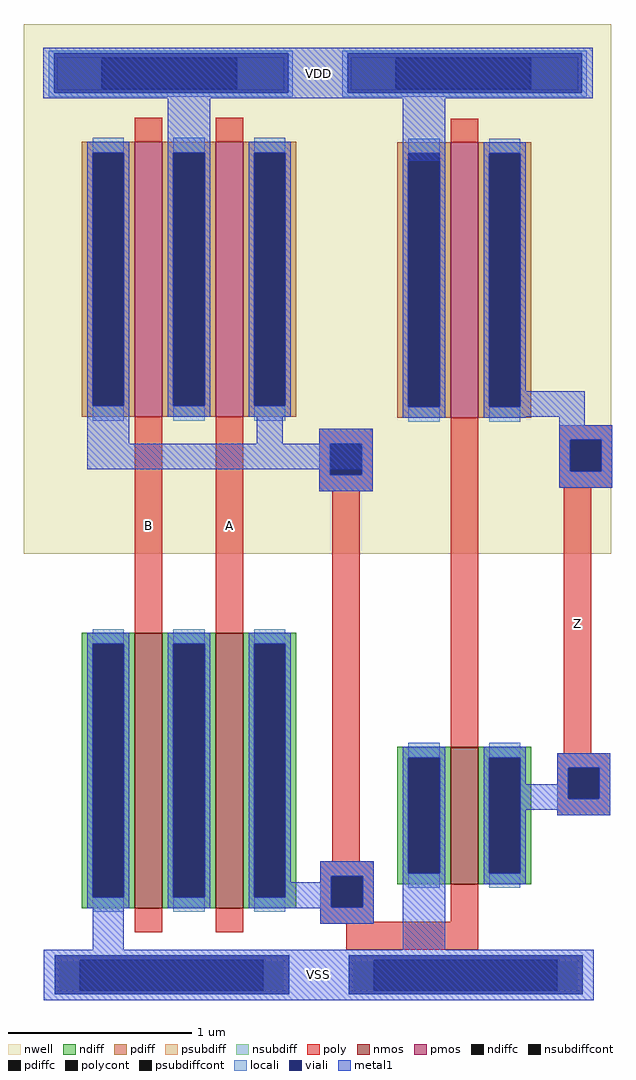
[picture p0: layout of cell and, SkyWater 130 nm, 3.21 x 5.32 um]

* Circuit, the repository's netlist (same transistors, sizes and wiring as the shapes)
** sch_path: /foss/designs/and.sch
**.subckt and vdd A Z B GND
*.iopin vdd
*.iopin Z
*.iopin GND
*.iopin B
*.iopin A
XM2 net1 A net2 GND sky130_fd_pr__nfet_01v8 L=0.15 W=1.5 nf=1 ad='int((nf+1)/2) * W/nf * 0.29' as='int((nf+2)/2) * W/nf * 0.29' pd='2*int((nf+1)/2) * (W/nf + 0.29)'
+ ps='2*int((nf+2)/2) * (W/nf + 0.29)' nrd='0.29 / W' nrs='0.29 / W' sa=0 sb=0 sd=0 mult=1 m=1
XM0 net1 A vdd vdd sky130_fd_pr__pfet_01v8 L=0.15 W=1.5 nf=1 ad='int((nf+1)/2) * W/nf * 0.29' as='int((nf+2)/2) * W/nf * 0.29' pd='2*int((nf+1)/2) * (W/nf + 0.29)'
+ ps='2*int((nf+2)/2) * (W/nf + 0.29)' nrd='0.29 / W' nrs='0.29 / W' sa=0 sb=0 sd=0 mult=1 m=1
XM3 net2 B GND GND sky130_fd_pr__nfet_01v8 L=0.15 W=1.5 nf=1 ad='int((nf+1)/2) * W/nf * 0.29' as='int((nf+2)/2) * W/nf * 0.29' pd='2*int((nf+1)/2) * (W/nf + 0.29)'
+ ps='2*int((nf+2)/2) * (W/nf + 0.29)' nrd='0.29 / W' nrs='0.29 / W' sa=0 sb=0 sd=0 mult=1 m=1
XM5 Z net1 GND GND sky130_fd_pr__nfet_01v8 L=0.15 W=0.75 nf=1 ad='int((nf+1)/2) * W/nf * 0.29' as='int((nf+2)/2) * W/nf * 0.29' pd='2*int((nf+1)/2) * (W/nf + 0.29)'
+ ps='2*int((nf+2)/2) * (W/nf + 0.29)' nrd='0.29 / W' nrs='0.29 / W' sa=0 sb=0 sd=0 mult=1 m=1
XM1 net1 B vdd vdd sky130_fd_pr__pfet_01v8 L=0.15 W=1.5 nf=1 ad='int((nf+1)/2) * W/nf * 0.29' as='int((nf+2)/2) * W/nf * 0.29' pd='2*int((nf+1)/2) * (W/nf + 0.29)'
+ ps='2*int((nf+2)/2) * (W/nf + 0.29)' nrd='0.29 / W' nrs='0.29 / W' sa=0 sb=0 sd=0 mult=1 m=1
XM4 Z net1 vdd vdd sky130_fd_pr__pfet_01v8 L=0.15 W=1.5 nf=1 ad='int((nf+1)/2) * W/nf * 0.29' as='int((nf+2)/2) * W/nf * 0.29' pd='2*int((nf+1)/2) * (W/nf + 0.29)'
+ ps='2*int((nf+2)/2) * (W/nf + 0.29)' nrd='0.29 / W' nrs='0.29 / W' sa=0 sb=0 sd=0 mult=1 m=1
**.ends
.end

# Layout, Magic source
magic
tech sky130A
magscale 1 2
<< poly >>
rect 121 399 151 635
rect 209 399 239 635
rect 336 150 366 556
rect 588 261 618 560
rect 355 85 373 87
rect 465 85 495 105
rect 351 55 495 85
<< metal1 >>
rect 21 982 620 1037
rect 157 923 203 982
rect 69 606 115 640
rect 254 606 282 645
rect 545 635 611 663
rect 583 616 611 635
rect 69 578 380 606
rect 542 207 592 235
rect 290 125 332 128
rect 75 55 109 111
rect 287 103 332 125
rect 287 100 329 103
rect 22 54 75 55
rect 111 54 621 55
rect 22 0 621 54
use grid  grid_0 grid
transform 1 0 61 0 1 10
box -61 -10 259 1053
use inverter_and  inverter_0
transform 1 0 320 0 1 0
box 0 0 320 1063
use sky130_fd_pr__nfet_01v8_EAKVGK  sky130_fd_pr__nfet_01v8_EAKVGK_0
transform 1 0 136 0 1 250
box -73 -176 73 176
use sky130_fd_pr__nfet_01v8_EAKVGK  sky130_fd_pr__nfet_01v8_EAKVGK_1
transform 1 0 224 0 1 250
box -73 -176 73 176
use sky130_fd_pr__pfet_01v8_52K3FE  sky130_fd_pr__pfet_01v8_52K3FE_0
transform 1 0 136 0 1 785
box -109 -212 109 212
use sky130_fd_pr__pfet_01v8_52K3FE  sky130_fd_pr__pfet_01v8_52K3FE_1
transform 1 0 224 0 1 785
box -109 -212 109 212
use via_m1_p  via_m1_p_0 via
transform 1 0 316 0 1 554
box 6 0 64 68
use via_m1_p  via_m1_p_1
transform 1 0 317 0 1 83
box 6 0 64 68
use via_m1_p  via_m1_p_2
transform 1 0 577 0 1 558
box 6 0 64 68
use via_m1_p  via_m1_p_3
transform 1 0 575 0 1 201
box 6 0 64 68
<< labels >>
rlabel metal1 21 982 620 1037 1 VDD
rlabel space 22 0 621 55 1 VSS
rlabel poly 121 399 151 635 1 B
rlabel poly 209 399 239 635 1 A
rlabel poly 589 270 618 551 1 Z
<< end >>

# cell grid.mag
magic
tech sky130A
magscale 1 2
<< nwell >>
rect -61 476 259 1053
<< psubdiff >>
rect -24 0 0 34
rect 200 0 224 34
<< nsubdiff >>
rect -25 1016 223 1017
rect -25 982 24 1016
rect 171 982 223 1016
rect -25 981 223 982
<< psubdiffcont >>
rect 0 0 200 34
<< nsubdiffcont >>
rect 24 982 171 1016
<< locali >>
rect -34 1021 232 1024
rect -34 978 -28 1021
rect 227 978 232 1021
rect -34 974 232 978
<< viali >>
rect -28 1016 227 1021
rect -28 982 24 1016
rect 24 982 171 1016
rect 171 982 227 1016
rect -28 978 227 982
rect -27 34 228 39
rect -27 0 0 34
rect 0 0 200 34
rect 200 0 228 34
rect -27 -4 228 0
<< metal1 >>
rect -40 1021 239 1027
rect -40 978 -28 1021
rect 227 978 239 1021
rect -40 972 239 978
rect -39 39 240 45
rect -39 -4 -27 39
rect 228 -4 240 39
rect -39 -10 240 -4
<< end >>

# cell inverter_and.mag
magic
tech sky130A
magscale 1 2
<< poly >>
rect 145 274 175 608
<< metal1 >>
rect 21 982 300 1037
rect 93 914 139 982
rect 93 55 139 133
rect 22 0 301 55
use grid  grid_0 grid
transform 1 0 61 0 1 10
box -61 -10 259 1053
use sky130_fd_pr__nfet_01v8_NDWVGB  sky130_fd_pr__nfet_01v8_NDWVGB_0
transform 1 0 160 0 1 201
box -73 -101 73 101
use sky130_fd_pr__pfet_01v8_52K3FE  sky130_fd_pr__pfet_01v8_52K3FE_0
transform 1 0 160 0 1 784
box -109 -212 109 212
<< labels >>
rlabel metal1 22 0 301 55 1 VSS
rlabel metal1 21 982 300 1037 1 VDD
<< end >>

# cell sky130_fd_pr__nfet_01v8_EAKVGK: kit device sky130_fd_pr__nfet_01v8, w 1.5 l 0.150 m 1 nf 1 diffcov 100 polycov 100 guard 0 glc 0 grc 0 gtc 0 gbc 0 tbcov 100 rlcov 100 topc 0 botc 0 poverlap 0 doverlap 1 lmin 0.15 wmin 0.42 compatible {sky130_fd_pr__nfet_01v8 sky130_fd_pr__nfet_01v8_lvt sky130_fd_bs_flash__special_sonosfet_star sky130_fd_pr__nfet_g5v0d10v5 sky130_fd_pr__nfet_05v0_nvt sky130_fd_pr__nfet_03v3_nvt} full_metal 0 viasrc 100 viadrn 100 viagate 100 viagb 0 viagr 0 viagl 0 viagt 0

# cell sky130_fd_pr__pfet_01v8_52K3FE: kit device sky130_fd_pr__pfet_01v8, w 1.5 l 0.15 m 1 nf 1 diffcov 100 polycov 100 guard 0 glc 0 grc 0 gtc 0 gbc 0 tbcov 100 rlcov 100 topc 0 botc 0 poverlap 0 doverlap 1 lmin 0.15 wmin 0.42 compatible {sky130_fd_pr__pfet_01v8 sky130_fd_pr__pfet_01v8_lvt sky130_fd_pr__pfet_01v8_hvt sky130_fd_pr__pfet_g5v0d10v5} full_metal 0 viasrc 100 viadrn 100 viagate 100 viagb 0 viagr 0 viagl 0 viagt 0

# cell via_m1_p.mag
magic
tech sky130A
<< poly >>
rect 3 26 32 34
rect 3 9 9 26
rect 26 9 32 26
rect 3 0 32 9
<< polycont >>
rect 9 9 26 26
<< locali >>
rect 3 26 32 34
rect 3 9 9 26
rect 26 9 32 26
rect 3 0 32 9
<< viali >>
rect 9 9 26 26
<< metal1 >>
rect 3 26 32 34
rect 3 9 9 26
rect 26 9 32 26
rect 3 0 32 9
<< end >>

# cell sky130_fd_pr__nfet_01v8_NDWVGB: kit device sky130_fd_pr__nfet_01v8, w 0.75 l 0.150 m 1 nf 1 diffcov 100 polycov 100 guard 0 glc 0 grc 0 gtc 0 gbc 0 tbcov 100 rlcov 100 topc 0 botc 0 poverlap 0 doverlap 1 lmin 0.15 wmin 0.42 compatible {sky130_fd_pr__nfet_01v8 sky130_fd_pr__nfet_01v8_lvt sky130_fd_bs_flash__special_sonosfet_star sky130_fd_pr__nfet_g5v0d10v5 sky130_fd_pr__nfet_05v0_nvt sky130_fd_pr__nfet_03v3_nvt} full_metal 0 viasrc 100 viadrn 100 viagate 100 viagb 0 viagr 0 viagl 0 viagt 0
